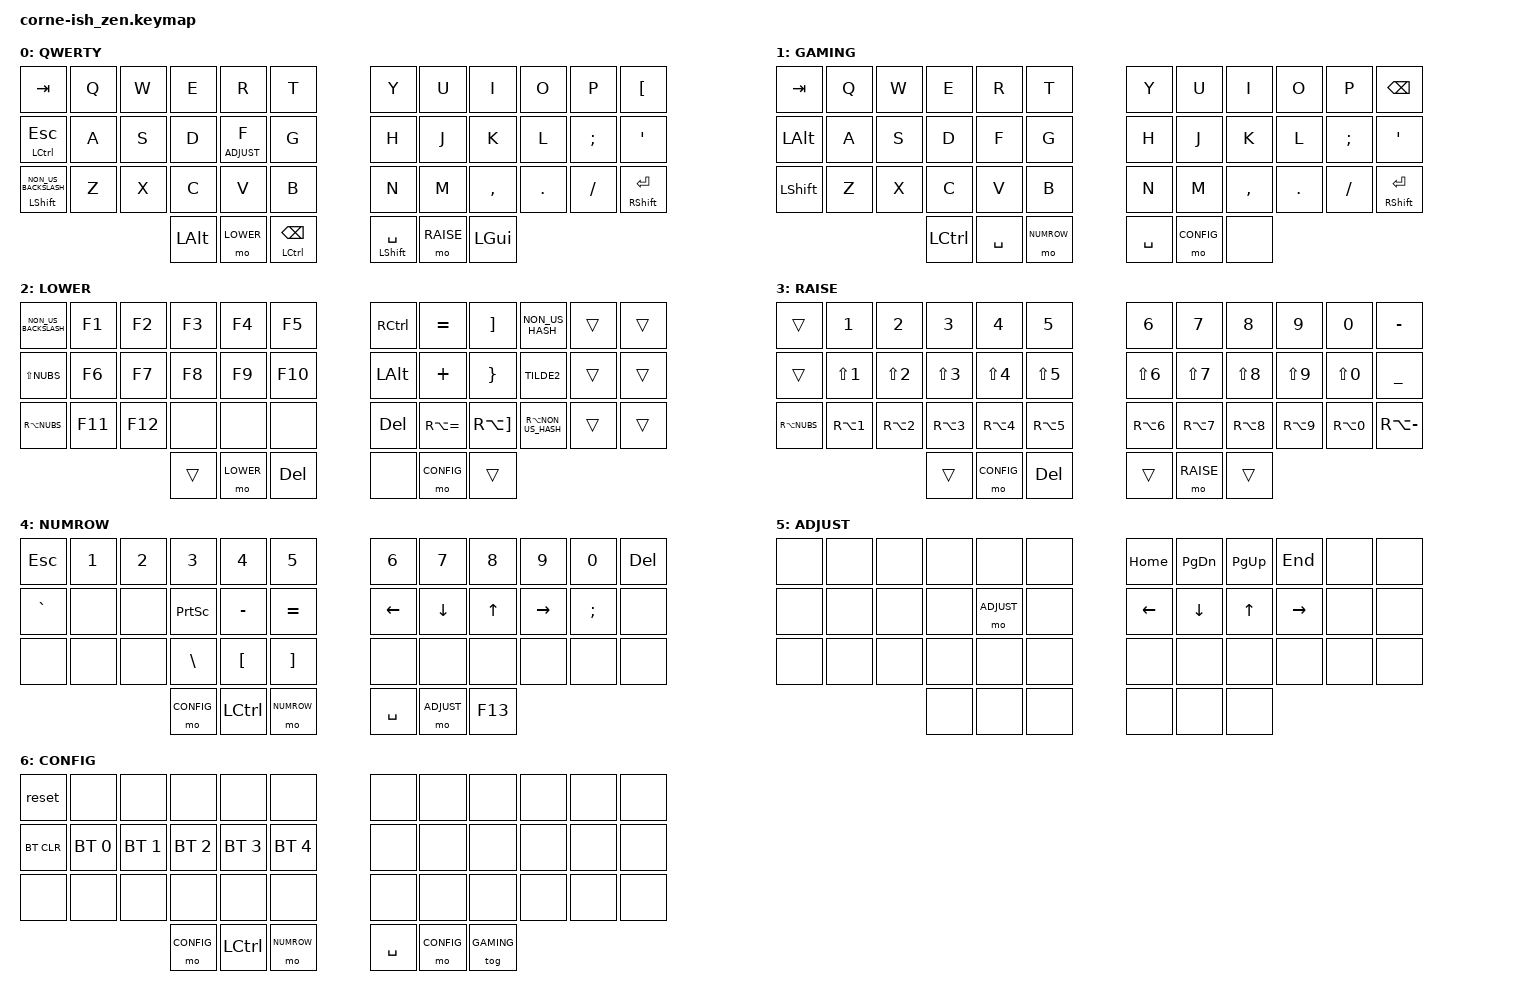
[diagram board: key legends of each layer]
/*
*
* Copyright (c) 2021 lowprokb.ca
* SPDX-License-Identifier: MIT
*
*/

#include <behaviors.dtsi>
#include <dt-bindings/zmk/keys.h>
#include <dt-bindings/zmk/bt.h>

#define QWERTY 0
#define GAMING 1
#define LOWER  2
#define RAISE  3
#define NUMROW 4
#define ADJUST 5
#define CONFIG 6

#define NUBS NON_US_BACKSLASH
#define LS1 LS(NUMBER_1)
#define LS2 LS(NUMBER_2)
#define LS3 LS(NUMBER_3)
#define LS4 LS(NUMBER_4)
#define LS5 LS(NUMBER_5)
#define LS6 LS(NUMBER_6)
#define LS7 LS(NUMBER_7)
#define LS8 LS(NUMBER_8)
#define LS9 LS(NUMBER_9)
#define LS0 LS(NUMBER_0)
#define RA1 RA(NUMBER_1)
#define RA2 RA(NUMBER_2)
#define RA3 RA(NUMBER_3)
#define RA4 RA(NUMBER_4)
#define RA5 RA(NUMBER_5)
#define RA6 RA(NUMBER_6)
#define RA7 RA(NUMBER_7)
#define RA8 RA(NUMBER_8)
#define RA9 RA(NUMBER_9)
#define RA0 RA(NUMBER_0)

#define LSNUBS LS(NUBS)
#define RAEQUAL RA(EQUAL)
#define RAMINUS RA(MINUS)
#define RANON_US_HASH RA(NON_US_HASH)
#define RANUBS RA(NUBS)
#define RARBKT RA(RBKT)

/ {
        keymap {
                compatible = "zmk,keymap";

                default_layer {
                        label = "QWERTY";
                        bindings = <
   &kp TAB         &kp Q &kp W &kp E &kp R        &kp T    &kp Y &kp U &kp I    &kp O   &kp P    &kp LBKT
   &mt LCTRL ESC   &kp A &kp S &kp D &lt ADJUST F &kp G    &kp H &kp J &kp K    &kp L   &kp SEMI &kp QUOT
   &mt LSHIFT NUBS &kp Z &kp X &kp C &kp V        &kp B    &kp N &kp M &kp CMMA &kp DOT &kp FSLH &mt RSHIFT ENTER
                      &kp LALT &mo LOWER &mt LCTRL BKSP    &mt LSHIFT SPC &mo RAISE &kp LGUI
                        >;
                };

                gaming_layer {
                        label = "GAMING";
                        bindings = <
   &kp TAB   &kp Q &kp W &kp E &kp R &kp T    &kp Y &kp U &kp I    &kp O   &kp P    &kp BKSP
   &kp LALT  &kp A &kp S &kp D &kp F &kp G    &kp H &kp J &kp K    &kp L   &kp SEMI &kp QUOT
   &kp LSHFT &kp Z &kp X &kp C &kp V &kp B    &kp N &kp M &kp CMMA &kp DOT &kp FSLH &mt RSHIFT ENTER
               &kp LCTL &kp SPC &mo NUMROW    &kp SPC &mo CONFIG &none
                        >;
                };

                lower_layer {
                        label = "LOWER";
                        bindings = <
   &kp NUBS   &kp F1  &kp F2  &kp F3 &kp F4 &kp F5     &kp RCTRL &kp EQUAL   &kp RBKT   &kp NON_US_HASH   &trans &trans
   &kp LSNUBS &kp F6  &kp F7  &kp F8 &kp F9 &kp F10    &kp LALT  &kp PLUS    &kp RBRC   &kp TILDE2        &trans &trans
   &kp RANUBS &kp F11 &kp F12 &none  &none  &none      &kp DEL   &kp RAEQUAL &kp RARBKT &kp RANON_US_HASH &trans &trans
                           &trans &mo LOWER &kp DEL    &none &mo CONFIG &trans
                        >;
                };

                raise_layer {
                        label = "RAISE";
                        bindings = <
   &trans     &kp N1  &kp N2  &kp N3  &kp N4  &kp N5     &kp N6  &kp N7  &kp N8  &kp N9  &kp N0  &kp MINUS
   &trans     &kp LS1 &kp LS2 &kp LS3 &kp LS4 &kp LS5    &kp LS6 &kp LS7 &kp LS8 &kp LS9 &kp LS0 &kp UNDER
   &kp RANUBS &kp RA1 &kp RA2 &kp RA3 &kp RA4 &kp RA5    &kp RA6 &kp RA7 &kp RA8 &kp RA9 &kp RA0 &kp RAMINUS
                            &trans &mo CONFIG &kp DEL    &trans &mo RAISE &trans
                        >;
                };

                numrow_layer {
                        label = "NUMROW";
                        bindings = <
   &kp ESC   &kp N1 &kp N2 &kp N3    &kp N4    &kp N5       &kp N6   &kp N7   &kp N8 &kp N9    &kp N0   &kp DEL
   &kp GRAVE &none  &none  &kp PSCRN &kp MINUS &kp EQUAL    &kp LEFT &kp DOWN &kp UP &kp RIGHT &kp SEMI &none
   &none     &none  &none  &kp BSLH  &kp LBKT  &kp RBKT     &none    &none    &none  &none     &none    &none
                          &mo CONFIG &kp LCTL &mo NUMROW    &kp SPC &mo ADJUST &kp F13
                        >;
                };

                adjust_layer {
                        label = "ADJUST";
                        bindings = <
   &none &none &none &none &none      &none    &kp HOME &kp PG_DN  &kp PG_UP &kp END   &none &none
   &none &none &none &none &mo ADJUST &none    &kp LEFT &kp DOWN   &kp UP    &kp RIGHT &none &none
   &none &none &none &none &none      &none    &none    &none      &none     &none     &none &none
                     &none &none      &none    &none &none &none
                        >;
                };

                config_layer {
                        label = "CONFIG";
                        bindings = <
   &reset     &none        &none        &none        &none        &none           &none &none &none &none &none &none
   &bt BT_CLR &bt BT_SEL 0 &bt BT_SEL 1 &bt BT_SEL 2 &bt BT_SEL 3 &bt BT_SEL 4    &none &none &none &none &none &none
   &none      &none        &none        &none        &none        &none           &none &none &none &none &none &none
                                                &mo CONFIG &kp LCTL &mo NUMROW    &kp SPC &mo CONFIG &tog GAMING
                        >;
                };
        };
};
